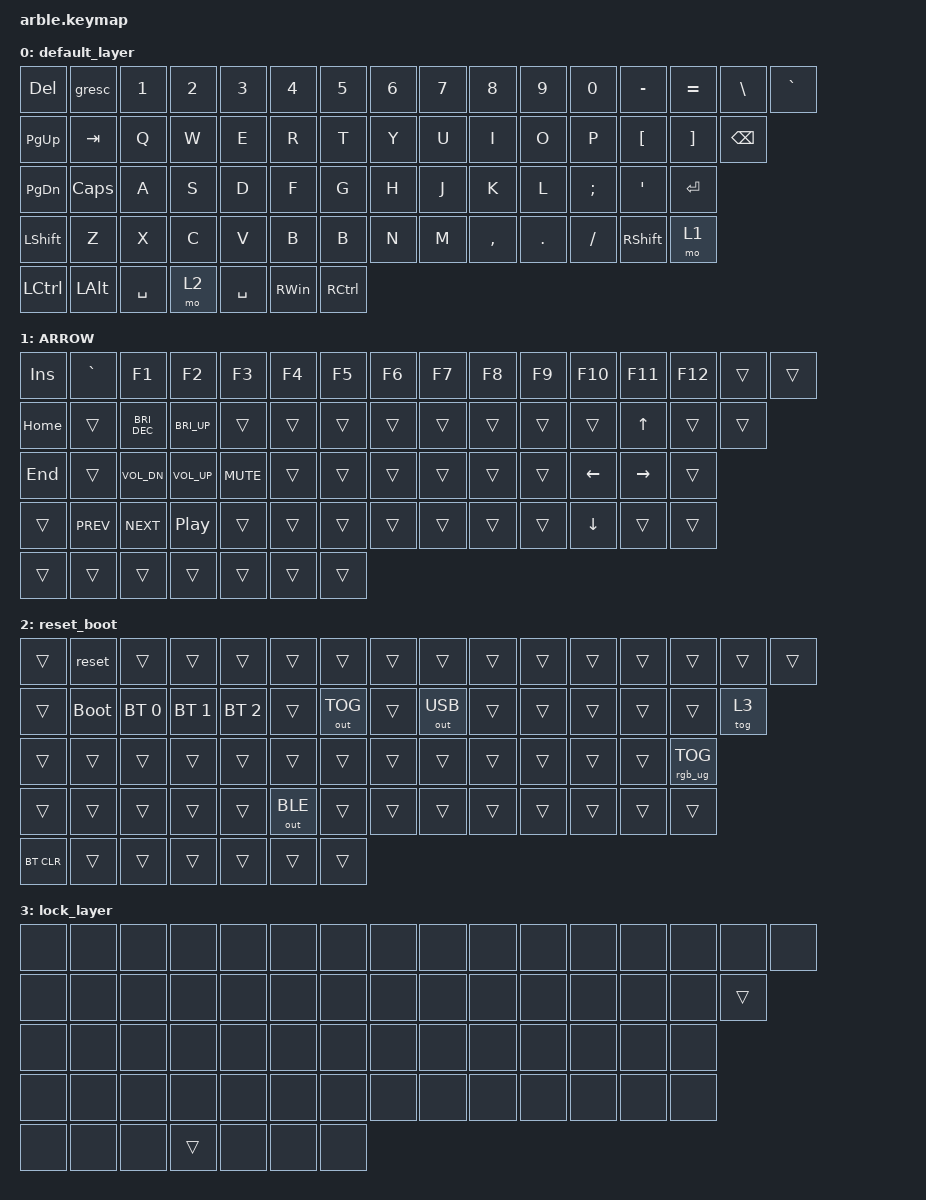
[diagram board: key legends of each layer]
/*
 * Copyright (c) 2021 Nick Winans
 *
 * SPDX-License-Identifier: MIT
 */

#include <behaviors.dtsi>
#include <dt-bindings/zmk/keys.h>
#include <dt-bindings/zmk/bt.h>
#include <dt-bindings/zmk/outputs.h>
#include <dt-bindings/zmk/rgb.h>

/ {
    keymap {
        compatible = "zmk,keymap";

        default_layer {
            bindings = <
 &kp DELETE        &gresc     &kp N1  &kp N2     &kp N3         &kp N4     &kp N5  &kp N6  &kp N7     &kp N8   &kp N9    &kp N0  &kp MINUS  &kp EQUAL  &kp BSLH  &kp GRAVE
&kp PAGE_UP       &kp TAB      &kp Q   &kp W      &kp E          &kp R      &kp T   &kp Y   &kp U      &kp I    &kp O     &kp P   &kp LBKT   &kp RBKT  &kp BSPC
  &kp PG_DN      &kp CAPS      &kp A   &kp S      &kp D          &kp F      &kp G   &kp H   &kp J      &kp K    &kp L  &kp SEMI    &kp SQT    &kp RET
  &kp LSHFT         &kp Z      &kp X   &kp C      &kp V          &kp B      &kp B   &kp N   &kp M  &kp COMMA  &kp DOT  &kp FSLH  &kp RSHFT      &mo 1
  &kp LCTRL  &kp LEFT_ALT  &kp SPACE   &mo 2  &kp SPACE  &kp RIGHT_WIN  &kp RCTRL
            >;
        };

        ARROW {
            bindings = <
&kp INSERT   &kp GRAVE                &kp F1            &kp F2      &kp F3  &kp F4  &kp F5  &kp F6  &kp F7  &kp F8  &kp F9   &kp F10    &kp F11  &kp F12  &trans  &trans
  &kp HOME      &trans  &kp C_BRIGHTNESS_DEC      &kp C_BRI_UP      &trans  &trans  &trans  &trans  &trans  &trans  &trans    &trans     &kp UP   &trans  &trans
   &kp END      &trans          &kp C_VOL_DN      &kp C_VOL_UP  &kp C_MUTE  &trans  &trans  &trans  &trans  &trans  &trans  &kp LEFT  &kp RIGHT   &trans
    &trans  &kp C_PREV            &kp C_NEXT  &kp C_PLAY_PAUSE      &trans  &trans  &trans  &trans  &trans  &trans  &trans  &kp DOWN     &trans   &trans
    &trans      &trans                &trans            &trans      &trans  &trans  &trans
            >;
        };

        reset_boot {
            bindings = <
    &trans       &reset        &trans        &trans        &trans        &trans        &trans  &trans        &trans  &trans  &trans  &trans  &trans           &trans  &trans  &trans
    &trans  &bootloader  &bt BT_SEL 0  &bt BT_SEL 1  &bt BT_SEL 2        &trans  &out OUT_TOG  &trans  &out OUT_USB  &trans  &trans  &trans  &trans           &trans  &tog 3
    &trans       &trans        &trans        &trans        &trans        &trans        &trans  &trans        &trans  &trans  &trans  &trans  &trans  &rgb_ug RGB_TOG
    &trans       &trans        &trans        &trans        &trans  &out OUT_BLE        &trans  &trans        &trans  &trans  &trans  &trans  &trans           &trans
&bt BT_CLR       &trans        &trans        &trans        &trans        &trans        &trans
            >;
        };

        lock_layer {
            bindings = <
&none  &none  &none   &none  &none  &none  &none  &none  &none  &none  &none  &none  &none  &none   &none  &none
&none  &none  &none   &none  &none  &none  &none  &none  &none  &none  &none  &none  &none  &none  &trans
&none  &none  &none   &none  &none  &none  &none  &none  &none  &none  &none  &none  &none  &none
&none  &none  &none   &none  &none  &none  &none  &none  &none  &none  &none  &none  &none  &none
&none  &none  &none  &trans  &none  &none  &none
            >;
        };
    };
};
